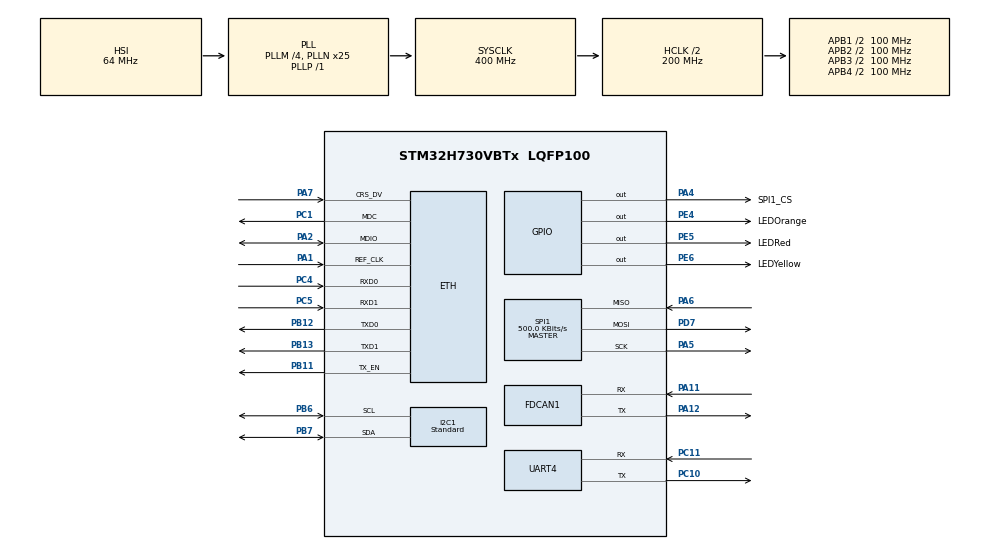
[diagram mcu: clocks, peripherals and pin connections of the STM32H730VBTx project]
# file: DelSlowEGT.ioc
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CORTEX_M7.AccessPermission-Cortex_Memory_Protection_Unit_Region1_Settings=MPU_REGION_FULL_ACCESS
CORTEX_M7.AccessPermission-Cortex_Memory_Protection_Unit_Region2_Settings=MPU_REGION_FULL_ACCESS
CORTEX_M7.BaseAddress-Cortex_Memory_Protection_Unit_Region1_Settings=0x30000000
CORTEX_M7.BaseAddress-Cortex_Memory_Protection_Unit_Region2_Settings=0x30000000
CORTEX_M7.CPU_DCache=Enabled
CORTEX_M7.CPU_ICache=Enabled
CORTEX_M7.DisableExec-Cortex_Memory_Protection_Unit_Region0_Settings=MPU_INSTRUCTION_ACCESS_DISABLE
CORTEX_M7.DisableExec-Cortex_Memory_Protection_Unit_Region1_Settings=MPU_INSTRUCTION_ACCESS_DISABLE
CORTEX_M7.DisableExec-Cortex_Memory_Protection_Unit_Region2_Settings=MPU_INSTRUCTION_ACCESS_DISABLE
CORTEX_M7.Enable-Cortex_Memory_Protection_Unit_Region0_Settings=MPU_REGION_ENABLE
CORTEX_M7.Enable-Cortex_Memory_Protection_Unit_Region1_Settings=MPU_REGION_ENABLE
CORTEX_M7.Enable-Cortex_Memory_Protection_Unit_Region2_Settings=MPU_REGION_ENABLE
CORTEX_M7.IsBufferable-Cortex_Memory_Protection_Unit_Region2_Settings=MPU_ACCESS_BUFFERABLE
CORTEX_M7.IsShareable-Cortex_Memory_Protection_Unit_Region0_Settings=MPU_ACCESS_SHAREABLE
CORTEX_M7.IsShareable-Cortex_Memory_Protection_Unit_Region2_Settings=MPU_ACCESS_SHAREABLE
CORTEX_M7.MPU_Control=MPU_PRIVILEGED_DEFAULT
CORTEX_M7.Size-Cortex_Memory_Protection_Unit_Region0_Settings=MPU_REGION_SIZE_4GB
CORTEX_M7.Size-Cortex_Memory_Protection_Unit_Region1_Settings=MPU_REGION_SIZE_32KB
CORTEX_M7.Size-Cortex_Memory_Protection_Unit_Region2_Settings=MPU_REGION_SIZE_512B
CORTEX_M7.SubRegionDisable-Cortex_Memory_Protection_Unit_Region0_Settings=0x87
CORTEX_M7.TypeExtField-Cortex_Memory_Protection_Unit_Region1_Settings=MPU_TEX_LEVEL1
ETH.MediaInterface=HAL_ETH_RMII_MODE
ETH.TxDescAddress=0x30000100
FDCAN1.CalculateBaudRateNominal=500000
FDCAN1.CalculateTimeBitNominal=2000
FDCAN1.CalculateTimeQuantumNominal=200.0
FDCAN1.NominalPrescaler=5
FDCAN1.NominalTimeSeg1=4
FDCAN1.NominalTimeSeg2=5
FREERTOS.Tasks01=defaultTask,24,512,StartDefaultTask,Default,NULL,Dynamic,NULL,NULL;ADCTempPoll,32,512,getADCTemps,Default,NULL,Dynamic,NULL,NULL;TempSensorPoll,8,512,getTempSensorData,Default,NULL,Dynamic,NULL,NULL;CANFrame,24,512,sendCANFrame,Default,NULL,Dynamic,NULL,NULL;UpdateLEDS,8,512,setLEDStatus,Default,NULL,Dynamic,NULL,NULL;CalibrateThermo,48,512,setADCCalibration,Default,NULL,Dynamic,NULL,NULL
FREERTOS.configCHECK_FOR_STACK_OVERFLOW=1
FREERTOS.configMINIMAL_STACK_SIZE=512
FREERTOS.configTOTAL_HEAP_SIZE=30*1024
I2C1.I2C_Speed_Mode=I2C_Standard
I2C1.Timing=0x10C0ECFF
LWIP.BSP.number=1
LWIP.DEFAULT_THREAD_STACKSIZE=2048
LWIP.IP_ADDRESS=192.168.001.010
LWIP.LWIP_DHCP=0
LWIP.LWIP_RAM_HEAP_POINTER=0x30000200
LWIP.MEM_SIZE=32232
LWIP.NETMASK_ADDRESS=255.255.255.000
LWIP.TCPIP_THREAD_STACKSIZE=2048
LWIP.TCP_MSS=1460
LWIP.TCP_SND_BUF=5840
LWIP.TCP_SND_QUEUELEN=16
LWIP.TCP_WND=5840
LWIP.Version=v2.1.2_Cube
LWIP0.BSP.STBoard=false
LWIP0.BSP.api=BSP_COMPONENT_DRIVER
LWIP0.BSP.component=LAN8742
LWIP0.BSP.instance=LAN8742
LWIP0.BSP.name=Driver_PHY
LWIP0.BSP.semaphore=S_LAN8742
LWIP0.BSP.solution=LAN8742
Mcu.Family=STM32H7
Mcu.Name=STM32H730VBTx
Mcu.Package=LQFP100
NVIC.ETH_IRQn=true\:5\:0\:false\:false\:true\:true\:true\:true\:true
NVIC.PriorityGroup=NVIC_PRIORITYGROUP_4
NVIC.TIM1_UP_IRQn=true\:15\:0\:false\:false\:true\:false\:false\:true\:true
NVIC.TimeBase=TIM1_UP_IRQn
NVIC.TimeBaseIP=TIM1
PA1.Mode=RMII
PA1.Signal=ETH_REF_CLK
PA11.GPIO_Speed=GPIO_SPEED_FREQ_VERY_HIGH
PA11.Mode=FDCAN_Activate
PA11.Signal=FDCAN1_RX
PA12.GPIO_Speed=GPIO_SPEED_FREQ_VERY_HIGH
PA12.Mode=FDCAN_Activate
PA12.Signal=FDCAN1_TX
PA13(JTMS/SWDIO).Mode=JTAG_5_pins
PA13(JTMS/SWDIO).Signal=DEBUG_JTMS-SWDIO
PA14(JTCK/SWCLK).Mode=JTAG_5_pins
PA14(JTCK/SWCLK).Signal=DEBUG_JTCK-SWCLK
PA15(JTDI).Mode=JTAG_5_pins
PA15(JTDI).Signal=DEBUG_JTDI
PA2.GPIO_Speed=GPIO_SPEED_FREQ_VERY_HIGH
PA2.Mode=RMII
PA2.Signal=ETH_MDIO
PA4.GPIO_Label=SPI1_CS
PA4.GPIO_Speed=GPIO_SPEED_FREQ_HIGH
PA4.Signal=GPIO_Output
PA5.GPIO_Speed=GPIO_SPEED_FREQ_HIGH
PA5.Mode=Full_Duplex_Master
PA5.Signal=SPI1_SCK
PA6.GPIO_Speed=GPIO_SPEED_FREQ_HIGH
PA6.Mode=Full_Duplex_Master
PA6.Signal=SPI1_MISO
PA7.Mode=RMII
PA7.Signal=ETH_CRS_DV
PB11.GPIO_Speed=GPIO_SPEED_FREQ_VERY_HIGH
PB11.Mode=RMII
PB11.Signal=ETH_TX_EN
PB12.GPIO_Speed=GPIO_SPEED_FREQ_VERY_HIGH
PB12.Mode=RMII
PB12.Signal=ETH_TXD0
PB13.GPIO_Speed=GPIO_SPEED_FREQ_VERY_HIGH
PB13.Mode=RMII
PB13.Signal=ETH_TXD1
PB3(JTDO/TRACESWO).Mode=JTAG_5_pins
PB3(JTDO/TRACESWO).Signal=DEBUG_JTDO-SWO
PB4(NJTRST).Mode=JTAG_5_pins
PB4(NJTRST).Signal=DEBUG_JTRST
PB6.Mode=I2C
PB6.Signal=I2C1_SCL
PB7.Mode=I2C
PB7.Signal=I2C1_SDA
PC1.GPIO_Speed=GPIO_SPEED_FREQ_VERY_HIGH
PC1.Mode=RMII
PC1.Signal=ETH_MDC
PC10.Mode=Asynchronous
PC10.Signal=UART4_TX
PC11.Mode=Asynchronous
PC11.Signal=UART4_RX
PC4.GPIO_Speed=GPIO_SPEED_FREQ_VERY_HIGH
PC4.Mode=RMII
PC4.Signal=ETH_RXD0
PC5.GPIO_Speed=GPIO_SPEED_FREQ_VERY_HIGH
PC5.Mode=RMII
PC5.Signal=ETH_RXD1
PD7.GPIO_Speed=GPIO_SPEED_FREQ_HIGH
PD7.Mode=Full_Duplex_Master
PD7.Signal=SPI1_MOSI
PE4.GPIO_Label=LEDOrange
PE4.Signal=GPIO_Output
PE5.GPIO_Label=LEDRed
PE5.Signal=GPIO_Output
PE6.GPIO_Label=LEDYellow
PE6.Signal=GPIO_Output
PH0-OSC_IN.Mode=HSE-External-Clock-Source
PH0-OSC_IN.Signal=RCC_OSC_IN
ProjectManager.HeapSize=0x200
ProjectManager.StackSize=0x400
ProjectManager.TargetToolchain=EWARM V8.50
RCC.ADCFreq_Value=96000000
RCC.APB1Freq_Value=100000000
RCC.APB2Freq_Value=100000000
RCC.APB3Freq_Value=100000000
RCC.APB4Freq_Value=100000000
RCC.CortexFreq_Value=400000000
RCC.D1PPRE=RCC_APB3_DIV2
RCC.D2PPRE1=RCC_APB1_DIV2
RCC.D2PPRE2=RCC_APB2_DIV2
RCC.D3PPRE=RCC_APB4_DIV2
RCC.DIVM1=4
RCC.DIVM2=4
RCC.DIVN1=25
RCC.DIVN2=12
RCC.DIVP1=1
RCC.DIVQ1=3
RCC.FDCANCLockSelection=RCC_FDCANCLKSOURCE_HSE
RCC.HCLKFreq_Value=200000000
RCC.HPRE=RCC_HCLK_DIV2
RCC.PLL2FRACN=0
RCC.PLL3FRACN=0
RCC.PLLFRACN=0
RCC.SPI123CLockSelection=RCC_SPI123CLKSOURCE_CLKP
RCC.SYSCLKFreq_VALUE=400000000
RCC.SYSCLKSource=RCC_SYSCLKSOURCE_PLLCLK
RCC.USBFreq_Value=133333333.33333333
SPI1.BaudRatePrescaler=SPI_BAUDRATEPRESCALER_128
SPI1.CLKPolarity=SPI_POLARITY_LOW
SPI1.CRCCalculation=SPI_CRCCALCULATION_DISABLE
SPI1.CRCPolynomial=0x8005
SPI1.CalculateBaudRate=500.0 KBits/s
SPI1.DataSize=SPI_DATASIZE_32BIT
SPI1.Direction=SPI_DIRECTION_2LINES
SPI1.FirstBit=SPI_FIRSTBIT_MSB
SPI1.Mode=SPI_MODE_MASTER
SPI1.VirtualType=VM_MASTER
VP_FREERTOS_VS_CMSIS_V2.Mode=CMSIS_V2
VP_LWIP_VS_Enabled.Mode=Enabled
VP_SYS_VS_tim1.Mode=TIM1
board=custom

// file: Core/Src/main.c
/* USER CODE BEGIN Header */
/**
  ******************************************************************************
  * @file           : main.c
  * @brief          : Main program body
  ******************************************************************************
  * @attention
  *
  * Copyright (c) 2024 STMicroelectronics.
  * All rights reserved.
  *
  * This software is licensed under terms that can be found in the LICENSE file
  * in the root directory of this software component.
  * If no LICENSE file comes with this software, it is provided AS-IS.
  *
  ******************************************************************************
  */
/* USER CODE END Header */
#include "main.h"
#include "cmsis_os.h"
#include "lwip.h"

/* USER CODE BEGIN Includes */
#include <stdlib.h>
#include <stdio.h>
#include <string.h>
#include "lwip/udp.h"
#include "lwip\err.h"

/* USER CODE END Includes */

FDCAN_HandleTypeDef hfdcan1;

I2C_HandleTypeDef hi2c1;

SPI_HandleTypeDef hspi1;

UART_HandleTypeDef huart4;

/* Definitions for defaultTask */
osThreadId_t defaultTaskHandle;
const osThreadAttr_t defaultTask_attributes = {
  .name = "defaultTask",
  .stack_size = 512 * 4,
  .priority = (osPriority_t) osPriorityNormal,
};
/* Definitions for ADCTempPoll */
osThreadId_t ADCTempPollHandle;
const osThreadAttr_t ADCTempPoll_attributes = {
  .name = "ADCTempPoll",
  .stack_size = 512 * 4,
  .priority = (osPriority_t) osPriorityAboveNormal,
};
/* Definitions for TempSensorPoll */
osThreadId_t TempSensorPollHandle;
const osThreadAttr_t TempSensorPoll_attributes = {
  .name = "TempSensorPoll",
  .stack_size = 512 * 4,
  .priority = (osPriority_t) osPriorityLow,
};
/* Definitions for CANFrame */
osThreadId_t CANFrameHandle;
const osThreadAttr_t CANFrame_attributes = {
  .name = "CANFrame",
  .stack_size = 512 * 4,
  .priority = (osPriority_t) osPriorityNormal,
};
/* Definitions for UpdateLEDS */
osThreadId_t UpdateLEDSHandle;
const osThreadAttr_t UpdateLEDS_attributes = {
  .name = "UpdateLEDS",
  .stack_size = 512 * 4,
  .priority = (osPriority_t) osPriorityLow,
};
/* Definitions for CalibrateThermo */
osThreadId_t CalibrateThermoHandle;
const osThreadAttr_t CalibrateThermo_attributes = {
  .name = "CalibrateThermo",
  .stack_size = 512 * 4,
  .priority = (osPriority_t) osPriorityRealtime,
};

void SystemClock_Config(void);
void PeriphCommonClock_Config(void);
static void MPU_Config(void);
static void MX_GPIO_Init(void);
static void MX_FDCAN1_Init(void);
static void MX_I2C1_Init(void);
static void MX_SPI1_Init(void);
static void MX_UART4_Init(void);
void StartDefaultTask(void *argument);
void getADCTemps(void *argument);
void getTempSensorData(void *argument);
void sendCANFrame(void *argument);
void setLEDStatus(void *argument);
void setADCCalibration(void *argument);

/* USER CODE BEGIN PFP */

void udp_Callback(void *arg, struct udp_pcb *pcb, struct pbuf *p, const ip_addr_t *addr, u16_t port);

float float_bits(const uint32_t u)
{
        union {
          uint32_t u;
          float f;
        } temp;

        temp.u = u;
        return temp.f;
}

float lessThan500Coeff[10], greaterThan500Coeff[10];

float hornerCalc(float x, float* coeffs )
{
  float y = 0.0f;

  for (int8_t i = 9; i > -1; --i) {
    y = coeffs[i] + (y * x);
  }
  return y;
}

/* USER CODE END PFP */

/* USER CODE BEGIN 0 */
//All in Celsius
float cylinder1TempData;
float cylinder2TempData;
float cylinder3TempData;
float cylinder4TempData;

int8_t temperatureFromSensor;

//SPI, I2C, CAN, ETH, each gets 8 bits
/**
Microcontroller Status Bits

SPI bits 0-7
  0: Configuration OK
  1: Cylinder1 OK
  2: Cylinder2 OK
  3: Cylinder3 OK
  4: Cylinder4 OK
  5: Above Operating Temp
  6: Dangerous Temp Exceeded
  7: Conspicuous Outlier in Temps

I2C bits 8-15
  0: Connection OK
  1: Temp OK
  2: Temp Exceed 90C
  3: Temp Below 0C
  4: Spare
  5: Spare
  6: Spare
  7: Spare

CAN bits 16-23
  0: Connection OK
  1: Status Frame Error
  2: LED Flash Request
  3: LED Flash Request Eth
  4: Spare
  5: Spare
  6: Spare
  7: Spare

ETH bits 24-31
  0: Connection to Host OK
  1: Last packet send success
  2: packet received success
  3: Calibration All Request
  4: Calibration Cyl1 Request
  5: Calibration Cyl2 Request
  6: Calibration Cyl3 Request
  7: Calibration Cyl4 Request

**/
uint32_t microcontrollerStatus;

/* USER CODE END 0 */

int main(void)
{

  /* MPU Configuration--------------------------------------------------------*/
  MPU_Config();
/* Enable the CPU Cache */

  /* Enable I-Cache---------------------------------------------------------*/
  SCB_EnableICache();

  /* Enable D-Cache---------------------------------------------------------*/
  SCB_EnableDCache();

  /* MCU Configuration--------------------------------------------------------*/

  /* Reset of all peripherals, Initializes the Flash interface and the Systick. */
  HAL_Init();

  /* Configure the system clock */
  SystemClock_Config();

/* Configure the peripherals common clocks */
  PeriphCommonClock_Config();

  /* Initialize all configured peripherals */
  MX_GPIO_Init();
  MX_FDCAN1_Init();
  MX_I2C1_Init();
  MX_SPI1_Init();
  MX_UART4_Init();

  /* Init scheduler */
  osKernelInitialize();

  /* Create the thread(s) */
  /* creation of defaultTask */
  defaultTaskHandle = osThreadNew(StartDefaultTask, NULL, &defaultTask_attributes);

  /* creation of ADCTempPoll */
  ADCTempPollHandle = osThreadNew(getADCTemps, NULL, &ADCTempPoll_attributes);

  /* creation of TempSensorPoll */
  TempSensorPollHandle = osThreadNew(getTempSensorData, NULL, &TempSensorPoll_attributes);

  /* creation of CANFrame */
  CANFrameHandle = osThreadNew(sendCANFrame, NULL, &CANFrame_attributes);

  /* creation of UpdateLEDS */
  UpdateLEDSHandle = osThreadNew(setLEDStatus, NULL, &UpdateLEDS_attributes);

  /* creation of CalibrateThermo */
  CalibrateThermoHandle = osThreadNew(setADCCalibration, NULL, &CalibrateThermo_attributes);

  /* Start scheduler */
  osKernelStart();

  /* We should never get here as control is now taken by the scheduler */
  /* Infinite loop */
  while (1)
  {

  }
}

void SystemClock_Config(void)
{
  RCC_OscInitTypeDef RCC_OscInitStruct = {0};
  RCC_ClkInitTypeDef RCC_ClkInitStruct = {0};

  /** Supply configuration update enable
  */
  HAL_PWREx_ConfigSupply(PWR_LDO_SUPPLY);

  /** Configure the main internal regulator output voltage
  */
  __HAL_PWR_VOLTAGESCALING_CONFIG(PWR_REGULATOR_VOLTAGE_SCALE1);

  while(!__HAL_PWR_GET_FLAG(PWR_FLAG_VOSRDY)) {}

  /** Initializes the RCC Oscillators according to the specified parameters
  * in the RCC_OscInitTypeDef structure.
  */
  RCC_OscInitStruct.OscillatorType = RCC_OSCILLATORTYPE_HSI|RCC_OSCILLATORTYPE_HSE;
  RCC_OscInitStruct.HSEState = RCC_HSE_BYPASS;
  RCC_OscInitStruct.HSIState = RCC_HSI_DIV1;
  RCC_OscInitStruct.HSICalibrationValue = 64;
  RCC_OscInitStruct.PLL.PLLState = RCC_PLL_ON;
  RCC_OscInitStruct.PLL.PLLSource = RCC_PLLSOURCE_HSI;
  RCC_OscInitStruct.PLL.PLLM = 4;
  RCC_OscInitStruct.PLL.PLLN = 25;
  RCC_OscInitStruct.PLL.PLLP = 1;
  RCC_OscInitStruct.PLL.PLLQ = 3;
  RCC_OscInitStruct.PLL.PLLR = 2;
  RCC_OscInitStruct.PLL.PLLRGE = RCC_PLL1VCIRANGE_3;
  RCC_OscInitStruct.PLL.PLLVCOSEL = RCC_PLL1VCOWIDE;
  RCC_OscInitStruct.PLL.PLLFRACN = 0;
  if (HAL_RCC_OscConfig(&RCC_OscInitStruct) != HAL_OK)
  {
    Error_Handler();
  }

  /** Initializes the CPU, AHB and APB buses clocks
  */
  RCC_ClkInitStruct.ClockType = RCC_CLOCKTYPE_HCLK|RCC_CLOCKTYPE_SYSCLK
                              |RCC_CLOCKTYPE_PCLK1|RCC_CLOCKTYPE_PCLK2
                              |RCC_CLOCKTYPE_D3PCLK1|RCC_CLOCKTYPE_D1PCLK1;
  RCC_ClkInitStruct.SYSCLKSource = RCC_SYSCLKSOURCE_PLLCLK;
  RCC_ClkInitStruct.SYSCLKDivider = RCC_SYSCLK_DIV1;
  RCC_ClkInitStruct.AHBCLKDivider = RCC_HCLK_DIV2;
  RCC_ClkInitStruct.APB3CLKDivider = RCC_APB3_DIV2;
  RCC_ClkInitStruct.APB1CLKDivider = RCC_APB1_DIV2;
  RCC_ClkInitStruct.APB2CLKDivider = RCC_APB2_DIV2;
  RCC_ClkInitStruct.APB4CLKDivider = RCC_APB4_DIV2;

  if (HAL_RCC_ClockConfig(&RCC_ClkInitStruct, FLASH_LATENCY_2) != HAL_OK)
  {
    Error_Handler();
  }
}

void PeriphCommonClock_Config(void)
{
  RCC_PeriphCLKInitTypeDef PeriphClkInitStruct = {0};

  /** Initializes the peripherals clock
  */
  PeriphClkInitStruct.PeriphClockSelection = RCC_PERIPHCLK_CKPER;
  PeriphClkInitStruct.CkperClockSelection = RCC_CLKPSOURCE_HSI;
  if (HAL_RCCEx_PeriphCLKConfig(&PeriphClkInitStruct) != HAL_OK)
  {
    Error_Handler();
  }
}

static void MX_FDCAN1_Init(void)
{

  hfdcan1.Instance = FDCAN1;
  hfdcan1.Init.FrameFormat = FDCAN_FRAME_CLASSIC;
  hfdcan1.Init.Mode = FDCAN_MODE_NORMAL;
  hfdcan1.Init.AutoRetransmission = DISABLE;
  hfdcan1.Init.TransmitPause = DISABLE;
  hfdcan1.Init.ProtocolException = DISABLE;
  hfdcan1.Init.NominalPrescaler = 5;
  hfdcan1.Init.NominalSyncJumpWidth = 1;
  hfdcan1.Init.NominalTimeSeg1 = 4;
  hfdcan1.Init.NominalTimeSeg2 = 5;
  hfdcan1.Init.DataPrescaler = 1;
  hfdcan1.Init.DataSyncJumpWidth = 1;
  hfdcan1.Init.DataTimeSeg1 = 1;
  hfdcan1.Init.DataTimeSeg2 = 1;
  hfdcan1.Init.MessageRAMOffset = 0;
  hfdcan1.Init.StdFiltersNbr = 0;
  hfdcan1.Init.ExtFiltersNbr = 0;
  hfdcan1.Init.RxFifo0ElmtsNbr = 0;
  hfdcan1.Init.RxFifo0ElmtSize = FDCAN_DATA_BYTES_8;
  hfdcan1.Init.RxFifo1ElmtsNbr = 0;
  hfdcan1.Init.RxFifo1ElmtSize = FDCAN_DATA_BYTES_8;
  hfdcan1.Init.RxBuffersNbr = 0;
  hfdcan1.Init.RxBufferSize = FDCAN_DATA_BYTES_8;
  hfdcan1.Init.TxEventsNbr = 0;
  hfdcan1.Init.TxBuffersNbr = 0;
  hfdcan1.Init.TxFifoQueueElmtsNbr = 0;
  hfdcan1.Init.TxFifoQueueMode = FDCAN_TX_FIFO_OPERATION;
  hfdcan1.Init.TxElmtSize = FDCAN_DATA_BYTES_8;
  if (HAL_FDCAN_Init(&hfdcan1) != HAL_OK)
  {
    Error_Handler();
  }

}

static void MX_I2C1_Init(void)
{

  hi2c1.Instance = I2C1;
  hi2c1.Init.Timing = 0x10C0ECFF;
  hi2c1.Init.OwnAddress1 = 0;
  hi2c1.Init.AddressingMode = I2C_ADDRESSINGMODE_7BIT;
  hi2c1.Init.DualAddressMode = I2C_DUALADDRESS_DISABLE;
  hi2c1.Init.OwnAddress2 = 0;
  hi2c1.Init.OwnAddress2Masks = I2C_OA2_NOMASK;
  hi2c1.Init.GeneralCallMode = I2C_GENERALCALL_DISABLE;
  hi2c1.Init.NoStretchMode = I2C_NOSTRETCH_DISABLE;
  if (HAL_I2C_Init(&hi2c1) != HAL_OK)
  {
    Error_Handler();
  }

  /** Configure Analogue filter
  */
  if (HAL_I2CEx_ConfigAnalogFilter(&hi2c1, I2C_ANALOGFILTER_ENABLE) != HAL_OK)
  {
    Error_Handler();
  }

  /** Configure Digital filter
  */
  if (HAL_I2CEx_ConfigDigitalFilter(&hi2c1, 0) != HAL_OK)
  {
    Error_Handler();
  }

}

static void MX_SPI1_Init(void)
{

  /* SPI1 parameter configuration*/
  hspi1.Instance = SPI1;
  hspi1.Init.Mode = SPI_MODE_MASTER;
  hspi1.Init.Direction = SPI_DIRECTION_2LINES;
  hspi1.Init.DataSize = SPI_DATASIZE_32BIT;
  hspi1.Init.CLKPolarity = SPI_POLARITY_LOW;
  hspi1.Init.CLKPhase = SPI_PHASE_1EDGE;
  hspi1.Init.NSS = SPI_NSS_SOFT;
  hspi1.Init.BaudRatePrescaler = SPI_BAUDRATEPRESCALER_128;
  hspi1.Init.FirstBit = SPI_FIRSTBIT_MSB;
  hspi1.Init.TIMode = SPI_TIMODE_DISABLE;
  hspi1.Init.CRCCalculation = SPI_CRCCALCULATION_DISABLE;
  hspi1.Init.CRCPolynomial = 0x8005;
  hspi1.Init.NSSPMode = SPI_NSS_PULSE_ENABLE;
  hspi1.Init.NSSPolarity = SPI_NSS_POLARITY_LOW;
  hspi1.Init.FifoThreshold = SPI_FIFO_THRESHOLD_01DATA;
  hspi1.Init.TxCRCInitializationPattern = SPI_CRC_INITIALIZATION_ALL_ZERO_PATTERN;
  hspi1.Init.RxCRCInitializationPattern = SPI_CRC_INITIALIZATION_ALL_ZERO_PATTERN;
  hspi1.Init.MasterSSIdleness = SPI_MASTER_SS_IDLENESS_00CYCLE;
  hspi1.Init.MasterInterDataIdleness = SPI_MASTER_INTERDATA_IDLENESS_00CYCLE;
  hspi1.Init.MasterReceiverAutoSusp = SPI_MASTER_RX_AUTOSUSP_DISABLE;
  hspi1.Init.MasterKeepIOState = SPI_MASTER_KEEP_IO_STATE_DISABLE;
  hspi1.Init.IOSwap = SPI_IO_SWAP_DISABLE;
  if (HAL_SPI_Init(&hspi1) != HAL_OK)
  {
    Error_Handler();
  }

}

static void MX_UART4_Init(void)
{

  huart4.Instance = UART4;
  huart4.Init.BaudRate = 115200;
  huart4.Init.WordLength = UART_WORDLENGTH_8B;
  huart4.Init.StopBits = UART_STOPBITS_1;
  huart4.Init.Parity = UART_PARITY_NONE;
  huart4.Init.Mode = UART_MODE_TX_RX;
  huart4.Init.HwFlowCtl = UART_HWCONTROL_NONE;
  huart4.Init.OverSampling = UART_OVERSAMPLING_16;
  huart4.Init.OneBitSampling = UART_ONE_BIT_SAMPLE_DISABLE;
  huart4.Init.ClockPrescaler = UART_PRESCALER_DIV1;
  huart4.AdvancedInit.AdvFeatureInit = UART_ADVFEATURE_NO_INIT;
  if (HAL_UART_Init(&huart4) != HAL_OK)
  {
    Error_Handler();
  }
  if (HAL_UARTEx_SetTxFifoThreshold(&huart4, UART_TXFIFO_THRESHOLD_1_8) != HAL_OK)
  {
    Error_Handler();
  }
  if (HAL_UARTEx_SetRxFifoThreshold(&huart4, UART_RXFIFO_THRESHOLD_1_8) != HAL_OK)
  {
    Error_Handler();
  }
  if (HAL_UARTEx_DisableFifoMode(&huart4) != HAL_OK)
  {
    Error_Handler();
  }

}

static void MX_GPIO_Init(void)
{
  GPIO_InitTypeDef GPIO_InitStruct = {0};

  /* GPIO Ports Clock Enable */
  __HAL_RCC_GPIOE_CLK_ENABLE();
  __HAL_RCC_GPIOH_CLK_ENABLE();
  __HAL_RCC_GPIOC_CLK_ENABLE();
  __HAL_RCC_GPIOA_CLK_ENABLE();
  __HAL_RCC_GPIOB_CLK_ENABLE();
  __HAL_RCC_GPIOD_CLK_ENABLE();

  /*Configure GPIO pin Output Level */
  HAL_GPIO_WritePin(GPIOE, LEDOrange_Pin|LEDRed_Pin|LEDYellow_Pin, GPIO_PIN_RESET);

  /*Configure GPIO pin Output Level */
  HAL_GPIO_WritePin(SPI1_CS_GPIO_Port, SPI1_CS_Pin, GPIO_PIN_RESET);

  /*Configure GPIO pins : LEDOrange_Pin LEDRed_Pin LEDYellow_Pin */
  GPIO_InitStruct.Pin = LEDOrange_Pin|LEDRed_Pin|LEDYellow_Pin;
  GPIO_InitStruct.Mode = GPIO_MODE_OUTPUT_PP;
  GPIO_InitStruct.Pull = GPIO_NOPULL;
  GPIO_InitStruct.Speed = GPIO_SPEED_FREQ_LOW;
  HAL_GPIO_Init(GPIOE, &GPIO_InitStruct);

  /*Configure GPIO pin : SPI1_CS_Pin */
  GPIO_InitStruct.Pin = SPI1_CS_Pin;
  GPIO_InitStruct.Mode = GPIO_MODE_OUTPUT_PP;
  GPIO_InitStruct.Pull = GPIO_NOPULL;
  GPIO_InitStruct.Speed = GPIO_SPEED_FREQ_HIGH;
  HAL_GPIO_Init(SPI1_CS_GPIO_Port, &GPIO_InitStruct);

}

/* USER CODE BEGIN 4 */

//Where we deal with UDP messages coming from web interface
void udp_Callback(void *arg, struct udp_pcb *pcb, struct pbuf *p, const ip_addr_t *addr, u16_t port)
{

  //addr is the IP adress message came from
  //port is the port message came form

  //pcb is the data structure that holds stuff?
  //p is packet buffer that was received

  char* commandReceived;

  commandReceived = p->payload;

  printf("received packet from ip address %u and port %u, the payload received: %s", addr->addr, port, commandReceived);

  pbuf_free(p);

  uint8_t convertedCommand = atoi(commandReceived);

  microcontrollerStatus += 0x04000000;//set bit 26

  switch (convertedCommand) {

    case 0x01: //cyl1 cal
      microcontrollerStatus += 0x08000000;//set bit 27
      break;
    case 0x02: //cyl2 cal
      microcontrollerStatus += 0x10000000;//set bit 28
      break;
    case 0x03: //cyl3 cal
      microcontrollerStatus += 0x20000000;//set bit 29
      break;
    case 0x04: //cyl4 cal
      microcontrollerStatus += 0x40000000;//set bit 30
      break;
    case 0x0F: //master cal
      microcontrollerStatus += 0x80000000;//set bit 31
      break;
    case 0x11: //flash all LEDs
      microcontrollerStatus += 0x00040000;//set bit 19 CAN
      break;
  }

  /**
  Microcontroller Status Bits
  ETH bits 24-31
  2: packet received success
  3: Calibration All Request
  4: Calibration Cyl1 Request
  5: Calibration Cyl2 Request
  6: Calibration Cyl3 Request
  7: Calibration Cyl4 Request
  **/
}

/* USER CODE END 4 */

void StartDefaultTask(void *argument)
{
  /* init code for LWIP */
  MX_LWIP_Init();
  /* USER CODE BEGIN 5 */

  osDelay(1000);

  ip_addr_t PC_IPADDR;
  IP_ADDR4(&PC_IPADDR, 192, 168, 1, 100);//IP of host PC

  struct udp_pcb* delSlowEGTUDP = udp_new();

  udp_connect(delSlowEGTUDP, &PC_IPADDR, 55151);

  struct pbuf* cylUDPBuffer = NULL;

  //udp_recv(delSlowEGTUDP, udp_Callback, NULL);

  float cylinderUDPData[4];

  /**
  Microcontroller Status Bits
  ETH bits 24-31
  0: Connection to Host OK
  1: Last packet send success
  **/

  /* Infinite loop */
  for(;;)
  {
    osDelay(10);

    //Default Task will always clear out non-sticky status (every 10ms)
    //Only sticky rn are bits 0,8,16,24
    microcontrollerStatus &= 0xFEFEFEFE;

//Keep for Debugging

    const char* helloWorldMessage = "Hello from the DelSlowEGT Board";
    struct pbuf* egtUDPBuffer     = NULL;
    egtUDPBuffer = pbuf_alloc(PBUF_TRANSPORT, strlen(helloWorldMessage), PBUF_RAM);

    if(egtUDPBuffer != NULL) {
      memcpy(egtUDPBuffer->payload, helloWorldMessage, strlen(helloWorldMessage));
      udp_send(delSlowEGTUDP, egtUDPBuffer);
      pbuf_free(egtUDPBuffer);

      microcontrollerStatus += 0x02000000;//set bit 25
    }

    /*
    cylinderUDPData[3] = cylinder4TempData;
    cylinderUDPData[2] = cylinder3TempData;
    cylinderUDPData[1] = cylinder2TempData;
    cylinderUDPData[0] = cylinder1TempData;

    cylUDPBuffer = pbuf_alloc(PBUF_TRANSPORT, sizeof(cylinderUDPData), PBUF_RAM);

    if(cylUDPBuffer != NULL) {
      memcpy(cylUDPBuffer->payload, cylinderUDPData, sizeof(cylinderUDPData));
      udp_send(delSlowEGTUDP, cylUDPBuffer);
      pbuf_free(cylUDPBuffer);
    }*/
  }
  /* USER CODE END 5 */
}

void getADCTemps(void *argument)
{
  /* USER CODE BEGIN getADCTemps */
  HAL_GPIO_WritePin(SPI1_CS_GPIO_Port, SPI1_CS_Pin, GPIO_PIN_SET);

  //ADC Configuration
  uint8_t ADC_CONFIG_0[4];
  ADC_CONFIG_0[3] = 0b01000110;
  ADC_CONFIG_0[2] = 0b00000000;
  ADC_CONFIG_0[1] = 0b00000000;
  ADC_CONFIG_0[0] = 0b01100011;

  uint8_t ADC_CONFIG_1[4];
  ADC_CONFIG_1[3] = 0b01001010;
  ADC_CONFIG_1[2] = 0b00000000;
  ADC_CONFIG_1[1] = 0b00000000;
  ADC_CONFIG_1[0] = 0b00111100;

  uint8_t ADC_CONFIG_2[4];
  ADC_CONFIG_1[3] = 0b01001110;
  ADC_CONFIG_1[2] = 0b00000000;
  ADC_CONFIG_1[1] = 0b00000000;
  ADC_CONFIG_1[0] = 0b10100001;

  uint8_t ADC_CONFIG_3[4];
  ADC_CONFIG_3[3] = 0b01010010;
  ADC_CONFIG_3[2] = 0b00000000;
  ADC_CONFIG_3[1] = 0b00000000;
  ADC_CONFIG_3[0] = 0b11110000;

  uint8_t ADC_SCAN_REG[4];
  ADC_SCAN_REG[3] = 0b01011110;
  ADC_SCAN_REG[2] = 0b00000000;
  ADC_SCAN_REG[1] = 0b00001111;
  ADC_SCAN_REG[0] = 0b00000000;

  uint8_t ADC_TIME_REG[4];
  ADC_TIME_REG[3] = 0b01100010;
  ADC_TIME_REG[2] = 0b00000000;
  ADC_TIME_REG[1] = 0b00000000;
  ADC_TIME_REG[0] = 0b00000000;

  uint8_t ADC_CONVERSION_START[4];
  ADC_CONVERSION_START[3] = 0b01101001;
  ADC_CONVERSION_START[2] = 0b00000000;
  ADC_CONVERSION_START[1] = 0b00000000;
  ADC_CONVERSION_START[0] = 0b00000000;

  //ADC read
  uint8_t ADC_READ_DATA[4];
  ADC_READ_DATA[3] = 0b01000001;
  ADC_READ_DATA[2] = 0b00000000;
  ADC_READ_DATA[1] = 0b00000000;
  ADC_READ_DATA[0] = 0b00000000;

  uint8_t adcTempData[4];

  uint32_t magicOperatingTempNumber = 500;//Celsius
  uint32_t magicDangerousTempNumber = 800;//Celsius
  float magicOutlierThresholdNumber = 1.1;//If one temp is outside 1 stddev away from avg uh oh

  // const uint8_t ADC_CONFIG_0_ADDR = 0b01000110;//0x1
  // const uint8_t ADC_CONFIG_1_ADDR = 0b01001010;//0x2
  // const uint8_t ADC_CONFIG_2_ADDR = 0b01001110;//0x3
  // const uint8_t ADC_CONFIG_3_ADDR = 0b01010010;//0x4
  // const uint8_t ADC_SCAN_REG_ADDR = 0b01011110;//0x7
  // const uint8_t ADC_TIME_REG_ADDR = 0b01100010;//0x8

  /*
  CONFIG0 Register
    -VREF_SEL Bit = 0 for external reference
    -ADC_MODE[1:0] = 11 for conversion mode
    -CLK_SEL[1:0] = 10 for internal clock no output

  CONFIG3 Register
    -CONV_MODE[1:0] = 11 for continuous conversions
      -Has TIMER[23:0] delay between each conversion cycle
      -Figure 5-17 for timing diagram

  Programming gain - CONFIG2 Register, GAIN[2:0]
    -try a gain of 011 (4x analog gain frist) ~12dB increase
    -must also set BOOST[1:0] to 10 to keep bias current at 1x
    -Use OSR[3:0] to reduce noise impacts of reading, max out cause thermos respond slow anyways
      -OSR[3:0] = 1111, for OSR total of 98304, Data rate reduced to 12.5-50Hz

  Use DATA_FORMAT[1:0] of 11 to get channel number along with data (32bit total data)
    -only in scan mode

  SCAN[15:0] looks like following to get all 4 channels:
    0000 1111 0000 0000

    CH6-CH7 ID : 1011
    CH4-CH5 ID : 1010
    CH2-CH3 ID : 1001
    CH0-CH1 ID : 1000

  DLY[2:0] = 000 for no delay between scan cycles
  */

 /*
  Compatible with SPI 0,0 and 1,1
  Data clocked out on falling edge
  Data clcoked in on rising edge

  Start SPI with CS falling, end with CS rising

  -First send COMMAND Byte
  [7:6] = 01; Device address (always)
  [5:2] = 1010; Start continuous conversion
  [1:0] = 01; read register Address[5:2]
        = 10; incremental write register Address[5:2]

    When command is clocking in, status is clocked out (full-duplex only), to see successful write or not
    STATUS[7:0] = 00[5:3]xxx, where [5:3] is device address commanded

  -For 10 (incremental write), following behavior is used:
    -look at Figure 6.3
  -For 01 (static read), following behavior:
    -ADC DATA is at address 0x0 (0000)

  PG90 has all register breakdowns
 */

/*
  Init with writing to CONFIG registers

  Loop with grabbing data off SDI whenever we want, chuck it into buffer with matching channels
*/

  //Initial write to ADC to configure on powerup
  HAL_GPIO_WritePin(SPI1_CS_GPIO_Port, SPI1_CS_Pin, GPIO_PIN_RESET);
  HAL_SPI_Transmit(&hspi1, ADC_CONFIG_0, 4, 100);
  HAL_GPIO_WritePin(SPI1_CS_GPIO_Port, SPI1_CS_Pin, GPIO_PIN_SET);
  osDelay(1);
  HAL_GPIO_WritePin(SPI1_CS_GPIO_Port, SPI1_CS_Pin, GPIO_PIN_RESET);
  HAL_SPI_Transmit(&hspi1, ADC_CONFIG_1, 4, 100);
  HAL_GPIO_WritePin(SPI1_CS_GPIO_Port, SPI1_CS_Pin, GPIO_PIN_SET);
  osDelay(1);
  HAL_GPIO_WritePin(SPI1_CS_GPIO_Port, SPI1_CS_Pin, GPIO_PIN_RESET);
  HAL_SPI_Transmit(&hspi1, ADC_CONFIG_2, 4, 100);
  HAL_GPIO_WritePin(SPI1_CS_GPIO_Port, SPI1_CS_Pin, GPIO_PIN_SET);
  osDelay(1);
  HAL_GPIO_WritePin(SPI1_CS_GPIO_Port, SPI1_CS_Pin, GPIO_PIN_RESET);
  HAL_SPI_Transmit(&hspi1, ADC_CONFIG_3, 4, 100);
  HAL_GPIO_WritePin(SPI1_CS_GPIO_Port, SPI1_CS_Pin, GPIO_PIN_SET);
  osDelay(1);
  HAL_GPIO_WritePin(SPI1_CS_GPIO_Port, SPI1_CS_Pin, GPIO_PIN_RESET);
  HAL_SPI_Transmit(&hspi1, ADC_SCAN_REG, 4, 100);
  HAL_GPIO_WritePin(SPI1_CS_GPIO_Port, SPI1_CS_Pin, GPIO_PIN_SET);
  osDelay(1);
  HAL_GPIO_WritePin(SPI1_CS_GPIO_Port, SPI1_CS_Pin, GPIO_PIN_RESET);
  HAL_SPI_Transmit(&hspi1, ADC_TIME_REG, 4, 100);
  HAL_GPIO_WritePin(SPI1_CS_GPIO_Port, SPI1_CS_Pin, GPIO_PIN_SET);
  osDelay(1);
  HAL_GPIO_WritePin(SPI1_CS_GPIO_Port, SPI1_CS_Pin, GPIO_PIN_RESET);
  HAL_SPI_Transmit(&hspi1, ADC_CONVERSION_START, 4, 100);
  HAL_GPIO_WritePin(SPI1_CS_GPIO_Port, SPI1_CS_Pin, GPIO_PIN_SET);
  osDelay(1);

  uint32_t cylinder1RawData;
  uint32_t cylinder2RawData;
  uint32_t cylinder3RawData;
  uint32_t cylinder4RawData;

  lessThan500Coeff[0] = 0.0f;
  lessThan500Coeff[1] = 25.08355f;
  lessThan500Coeff[2] = 0.07860106f;
  lessThan500Coeff[3] = -0.2503131f;
  lessThan500Coeff[4] = 0.08315270f;
  lessThan500Coeff[5] = -0.01228034f;
  lessThan500Coeff[6] = 0.0009804036f;
  lessThan500Coeff[7] = -0.00004413030f;
  lessThan500Coeff[8] = 0.000001057734f;
  lessThan500Coeff[9] = -0.00000001052755f;

  greaterThan500Coeff[0] = -131.8058f;
  greaterThan500Coeff[1] = 48.30222f;
  greaterThan500Coeff[2] = -1.646031f;
  greaterThan500Coeff[3] = 0.05464731f;
  greaterThan500Coeff[4] = -0.0009650715f;
  greaterThan500Coeff[5] = 0.000008802193f;
  greaterThan500Coeff[6] = 0.0f;
  greaterThan500Coeff[7] = 0.0f;
  greaterThan500Coeff[8] = 0.0f;
  greaterThan500Coeff[9] = 0.0f;

  uint32_t coeffCutoffTemp = 0x20078B;//~500C with 3.3V ref and 4x Gain
  float workingmilliVolts = 0;

  /* Infinite loop */
  for(;;)
  {
    //Every 1s
    osDelay(1000);
    HAL_GPIO_WritePin(SPI1_CS_GPIO_Port, SPI1_CS_Pin, GPIO_PIN_RESET);
    HAL_SPI_Transmit(&hspi1, ADC_READ_DATA, 4, 100);
    microcontrollerStatus += HAL_SPI_Receive(&hspi1, adcTempData, 4, 100) == HAL_OK ? 0x00000001 : 0x00000001;//Set bit 0 *Sticky*
    HAL_GPIO_WritePin(SPI1_CS_GPIO_Port, SPI1_CS_Pin, GPIO_PIN_SET);

    //mask off top 4 bits here
    switch (adcTempData[3])
    {
    case 0b1011:
      cylinder4RawData = (((uint32_t)adcTempData[3] << 24) | ((uint32_t)adcTempData[2] << 16) | ((uint32_t)adcTempData[1] << 8) | ((uint32_t)adcTempData[0]));

      workingmilliVolts = float_bits(cylinder4RawData) / 101680.0523f; //convert to millivolts

      cylinder4TempData = hornerCalc(workingmilliVolts, workingmilliVolts > coeffCutoffTemp ? greaterThan500Coeff : lessThan500Coeff) + temperatureFromSensor;//add on cold junction temp to offset properly

      microcontrollerStatus += 0x0000010;//Set bit 4
      break;
    case 0b1010:
      cylinder3RawData = ((uint32_t)adcTempData[3] << 24) | ((uint32_t)adcTempData[2] << 16) | ((uint32_t)adcTempData[1] << 8) | ((uint32_t)adcTempData[0]);

      workingmilliVolts = float_bits(cylinder3RawData) / 101680.0523f; //convert to millivolts

      cylinder3TempData = hornerCalc(workingmilliVolts, workingmilliVolts > coeffCutoffTemp ? greaterThan500Coeff : lessThan500Coeff) + temperatureFromSensor;//add on cold junction temp to offset properly

      microcontrollerStatus += 0x0000008;//Set bit 3
      break;
    case 0b1001:
      cylinder2RawData = ((uint32_t)adcTempData[3] << 24) | ((uint32_t)adcTempData[2] << 16) | ((uint32_t)adcTempData[1] << 8) | ((uint32_t)adcTempData[0]);

      workingmilliVolts = float_bits(cylinder2RawData) / 101680.0523f; //convert to millivolts

      cylinder2TempData = hornerCalc(workingmilliVolts, workingmilliVolts > coeffCutoffTemp ? greaterThan500Coeff : lessThan500Coeff) + temperatureFromSensor;//add on cold junction temp to offset properly

      microcontrollerStatus += 0x0000004;//Set bit 2
      break;
    case 0b1000:
      cylinder1RawData = ((uint32_t)adcTempData[3] << 24) | ((uint32_t)adcTempData[2] << 16) | ((uint32_t)adcTempData[1] << 8) | ((uint32_t)adcTempData[0]);

      workingmilliVolts = float_bits(cylinder1RawData) / 101680.0523f; //convert to millivolts

      cylinder1TempData = hornerCalc(workingmilliVolts, workingmilliVolts > coeffCutoffTemp ? greaterThan500Coeff : lessThan500Coeff) + temperatureFromSensor;//add on cold junction temp to offset properly

      microcontrollerStatus += 0x0000002;//Set bit 1
      break;
    default:
      break;
    }

    float avgTemp = (cylinder4TempData + cylinder3TempData + cylinder2TempData + cylinder1TempData) / 4;

    float stdDev = (((cylinder4TempData - avgTemp) * (cylinder4TempData - avgTemp))
               +  ((cylinder3TempData - avgTemp) * (cylinder3TempData - avgTemp))
               +  ((cylinder2TempData - avgTemp) * (cylinder2TempData - avgTemp))
               +  ((cylinder1TempData - avgTemp) * (cylinder1TempData - avgTemp))) / 2;

    microcontrollerStatus += avgTemp > magicOperatingTempNumber    ? 0x00000020: 0;//set bit 5
    microcontrollerStatus += avgTemp > magicDangerousTempNumber    ? 0x00000040: 0;//set bit 6
    microcontrollerStatus += stdDev  > magicOutlierThresholdNumber ? 0x00000080: 0;//set bit 7

/**
Microcontroller Status Bits

SPI bits 0-7
  0: Configuration OK
  1: Cylinder1 OK
  2: Cylinder2 OK
  3: Cylinder3 OK
  4: Cylinder4 OK
  5: Above Operating Temp
  6: Dangerous Temp Exceeded
  7: Conspicuous Outlier in Temps
**/
  }

  /* USER CODE END getADCTemps */
}

void getTempSensorData(void *argument)
{
  /* USER CODE BEGIN getTempSensorData */

  uint8_t tempSensorWriteAddr = 0b10010000;
  uint8_t tempData[2];

  int8_t magicExceed90Number = 90;

  /* Infinite loop */
  for(;;)
  {
    //Every 3s
    osDelay(3000);
    if(HAL_I2C_Master_Receive(&hi2c1, tempSensorWriteAddr << 1, tempData, 1, 100) == HAL_OK) {
     microcontrollerStatus += 0x00000100;//set bit 8 *Sticky*
     microcontrollerStatus += 0x00000200;//set bit 9
    } else {
     microcontrollerStatus -= 0x00000100;//reset bit 8 *Sticky*
    }

    //temp is in celsius
    temperatureFromSensor = tempData[0];

    microcontrollerStatus += temperatureFromSensor > magicExceed90Number ? 0x00000400 : 0;//set bit 10
    microcontrollerStatus += temperatureFromSensor < 0                   ? 0x00000800 : 0;//set bit 11

/**
Microcontroller Status Bits
I2C bits 8-15
  0: Connection OK
  1: Temp OK
  2: Temp Exceed 90C
  3: Temp Below 0C
  4: Spare
  5: Spare
  6: Spare
  7: Spare
**/
  }
  /* USER CODE END getTempSensorData */
}

void sendCANFrame(void *argument)
{
  /* USER CODE BEGIN sendCANFrame */

  FDCAN_TxHeaderTypeDef TxHeader;
  FDCAN_FilterTypeDef canFilter;

  TxHeader.Identifier = 0x300;
  TxHeader.IdType = FDCAN_STANDARD_ID;
  TxHeader.DataLength = FDCAN_DATA_BYTES_8;
  TxHeader.FDFormat = FDCAN_FRAME_CLASSIC;

  //0x300 for temp board frames?
  /*
    FRAMES
    id:   0x300
    name: CYLINDER_TEMPS
    dlc:  8 bytes

    FIELD
    frame:      CYLINDER_TEMPS
    name:       CYLINDER_1_TEMP
    start:      0
    length:     32 bits (4 bytes)
    multiplier: 1
    divisor:    10
    offset:     0
    signed:     SIGNED

    FRAME(0x300, CYLINDER12_TEMPS, 8);
    FIELD(CYLINDER_TEMPS, CYLINDER_1_TEMP,  0, 32, 1, 1, 0, SIGNED);
    FIELD(CYLINDER_TEMPS, CYLINDER_2_TEMP, 32, 32, 1, 1, 0, SIGNED);
    FRAME(0x300, CYLINDER34_TEMPS, 8);
    FIELD(CYLINDER_TEMPS, CYLINDER_3_TEMP,  0, 32, 1, 1, 0, SIGNED);
    FIELD(CYLINDER_TEMPS, CYLINDER_4_TEMP, 32, 32, 1, 1, 0, SIGNED);

    BAUD RATE:
    2024: 500kHz
    2023: 500kHz
    2022: 250kHz
  */

  //HAL_FDCAN_ConfigFilter(&hfdcan1, &canFilter);
  HAL_FDCAN_Start(&hfdcan1);

  /* Infinite loop */
  for(;;)
  {
    osDelay(1000);

    //Take 4 32bit and crush into two 64bit
    uint8_t Cylinder34TempData[8];
    Cylinder34TempData[7] = ((unsigned)cylinder4TempData >> 24) & 0xFF;
    Cylinder34TempData[6] = ((unsigned)cylinder4TempData >> 16) & 0xFF;
    Cylinder34TempData[5] = ((unsigned)cylinder4TempData >> 8)  & 0xFF;
    Cylinder34TempData[4] = ((unsigned)cylinder4TempData >> 0)  & 0xFF;
    Cylinder34TempData[3] = ((unsigned)cylinder3TempData >> 24) & 0xFF;
    Cylinder34TempData[2] = ((unsigned)cylinder3TempData >> 16) & 0xFF;
    Cylinder34TempData[1] = ((unsigned)cylinder3TempData >> 8)  & 0xFF;
    Cylinder34TempData[0] = ((unsigned)cylinder3TempData >> 0)  & 0xFF;

    uint8_t Cylinder12TempData[8];
    Cylinder12TempData[7] = ((unsigned)cylinder2TempData >> 24) & 0xFF;
    Cylinder12TempData[6] = ((unsigned)cylinder2TempData >> 16) & 0xFF;
    Cylinder12TempData[5] = ((unsigned)cylinder2TempData >> 8)  & 0xFF;
    Cylinder12TempData[4] = ((unsigned)cylinder2TempData >> 0)  & 0xFF;
    Cylinder12TempData[3] = ((unsigned)cylinder1TempData >> 24) & 0xFF;
    Cylinder12TempData[2] = ((unsigned)cylinder1TempData >> 16) & 0xFF;
    Cylinder12TempData[1] = ((unsigned)cylinder1TempData >> 8)  & 0xFF;
    Cylinder12TempData[0] = ((unsigned)cylinder1TempData >> 0)  & 0xFF;

    microcontrollerStatus += HAL_FDCAN_AddMessageToTxFifoQ(&hfdcan1, &TxHeader, Cylinder34TempData) == HAL_OK ? 0x00010000: 0x00020000;//set bit 16 *Sticky* or set bit 17 on fail
    microcontrollerStatus += HAL_FDCAN_AddMessageToTxFifoQ(&hfdcan1, &TxHeader, Cylinder12TempData) == HAL_OK ? 0x00010000: 0x00020000;//set bit 16 *Sticky* or set bit 17 on fail

/**
Microcontroller Status Bits
CAN bits 16-23
  0: Connection OK
  1: Status Frame Error
  2: LED Flash Request
  3: Spare
  4: Spare
  5: Spare
  6: Spare
  7: Spare
**/
  }
  /* USER CODE END sendCANFrame */
}

void setLEDStatus(void *argument)
{
  /* USER CODE BEGIN setLEDStatus */
  //errorLED - Red
  //not at operating temp LED - Orange
  //CAN connected LED - Yellow
  //Set all high on powerup
  HAL_GPIO_WritePin(GPIOE, LEDOrange_Pin|LEDRed_Pin|LEDYellow_Pin, GPIO_PIN_SET);

  /* Infinite loop */
  for(;;)
  {
    osDelay(1);

    //keep high until at op temp
    HAL_GPIO_WritePin(GPIOE, LEDOrange_Pin, (microcontrollerStatus & 0x00000020) > 0 ? GPIO_PIN_RESET : GPIO_PIN_SET);

    //once can connected go high
    HAL_GPIO_WritePin(GPIOE, LEDYellow_Pin, (microcontrollerStatus & 0x00010000) > 0 ? GPIO_PIN_SET : GPIO_PIN_RESET);

    //If any comm erros go high
    HAL_GPIO_WritePin(GPIOE, LEDRed_Pin, (microcontrollerStatus & 0x01010101) < 0x01010101 ? GPIO_PIN_SET : GPIO_PIN_RESET);

    //Light up all LEDs
    HAL_GPIO_WritePin(GPIOE, LEDOrange_Pin | LEDYellow_Pin | LEDRed_Pin, (microcontrollerStatus & 0x00080000) > 0 ? GPIO_PIN_SET : GPIO_PIN_RESET);

    /**
    Microcontroller Status Bits

    SPI bits 0-7
      0: Configuration OK
      5: Above Operating Temp

    I2C bits 8-15
      0: Connection OK

    CAN bits 16-23
      0: Connection OK
      3: LED Flash Request

    ETH bits 24-31
      0: Connection to Host OK
    **/
  }
  /* USER CODE END setLEDStatus */
}

void setADCCalibration(void *argument)
{
  for(;;)
  {
    osDelay(1);
  }
}

/* MPU Configuration */

void MPU_Config(void)
{
  MPU_Region_InitTypeDef MPU_InitStruct = {0};

  /* Disables the MPU */
  HAL_MPU_Disable();

  /** Initializes and configures the Region and the memory to be protected
  */
  MPU_InitStruct.Enable = MPU_REGION_ENABLE;
  MPU_InitStruct.Number = MPU_REGION_NUMBER0;
  MPU_InitStruct.BaseAddress = 0x0;
  MPU_InitStruct.Size = MPU_REGION_SIZE_4GB;
  MPU_InitStruct.SubRegionDisable = 0x87;
  MPU_InitStruct.TypeExtField = MPU_TEX_LEVEL0;
  MPU_InitStruct.AccessPermission = MPU_REGION_NO_ACCESS;
  MPU_InitStruct.DisableExec = MPU_INSTRUCTION_ACCESS_DISABLE;
  MPU_InitStruct.IsShareable = MPU_ACCESS_SHAREABLE;
  MPU_InitStruct.IsCacheable = MPU_ACCESS_NOT_CACHEABLE;
  MPU_InitStruct.IsBufferable = MPU_ACCESS_NOT_BUFFERABLE;

  HAL_MPU_ConfigRegion(&MPU_InitStruct);

  /** Initializes and configures the Region and the memory to be protected
  */
  MPU_InitStruct.Number = MPU_REGION_NUMBER1;
  MPU_InitStruct.BaseAddress = 0x30000000;
  MPU_InitStruct.Size = MPU_REGION_SIZE_32KB;
  MPU_InitStruct.SubRegionDisable = 0x0;
  MPU_InitStruct.TypeExtField = MPU_TEX_LEVEL1;
  MPU_InitStruct.AccessPermission = MPU_REGION_FULL_ACCESS;
  MPU_InitStruct.IsShareable = MPU_ACCESS_NOT_SHAREABLE;

  HAL_MPU_ConfigRegion(&MPU_InitStruct);

  /** Initializes and configures the Region and the memory to be protected
  */
  MPU_InitStruct.Number = MPU_REGION_NUMBER2;
  MPU_InitStruct.Size = MPU_REGION_SIZE_512B;
  MPU_InitStruct.TypeExtField = MPU_TEX_LEVEL0;
  MPU_InitStruct.IsShareable = MPU_ACCESS_SHAREABLE;
  MPU_InitStruct.IsBufferable = MPU_ACCESS_BUFFERABLE;

  HAL_MPU_ConfigRegion(&MPU_InitStruct);
  /* Enables the MPU */
  HAL_MPU_Enable(MPU_PRIVILEGED_DEFAULT);

}

void HAL_TIM_PeriodElapsedCallback(TIM_HandleTypeDef *htim)
{
  if (htim->Instance == TIM1) {
    HAL_IncTick();
  }
}

void Error_Handler(void)
{
  __disable_irq();
  while (1)
  {
  }
}
